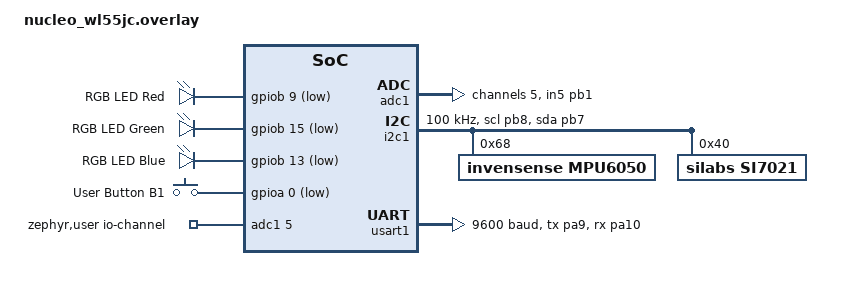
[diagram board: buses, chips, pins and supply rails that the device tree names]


/ {
	aliases {
		/* RGB LED */
		led-red    = &red_led;
		led-green  = &green_led;
		led-blue   = &blue_led;

		/* User button B1 */
		sw0        = &user_button;

		/* Sensors and communication */
		ldr-adc    = &adc1;
		sensor-i2c = &i2c1;
		gps-uart   = &usart1;
	};

	/* RGB LED - Common Anode */
	rgb_leds {
		compatible = "gpio-leds";

		red_led: red_led_node {
			gpios = <&gpiob 9 GPIO_ACTIVE_LOW>;
			label = "RGB LED Red";
		};

		green_led: green_led_node {
			gpios = <&gpiob 15 GPIO_ACTIVE_LOW>;
			label = "RGB LED Green";
		};

		blue_led: blue_led_node {
			gpios = <&gpiob 13 GPIO_ACTIVE_LOW>;
			label = "RGB LED Blue";
		};
	};

	/* Button B1 */
	buttons {
		compatible = "gpio-keys";

		user_button: button_1 {
			gpios = <&gpioa 0 (GPIO_PULL_UP | GPIO_ACTIVE_LOW)>;
			label = "User Button B1";
		};
	};

	/* LDR ADC input */
	zephyr,user {
		io-channels = <&adc1 5>;
	};
};

/* --------------------------------------------------
 * ADC1 - LDR sur PB1 / Canal 5
 * -------------------------------------------------- */
&adc1 {
	status = "okay";
	pinctrl-0 = <&adc_in5_pb1>;
	pinctrl-names = "default";

	#address-cells = <1>;
	#size-cells = <0>;

	channel@5 {
		reg = <5>;
		zephyr,gain = "ADC_GAIN_1";
		zephyr,reference = "ADC_REF_INTERNAL";
		zephyr,acquisition-time = <ADC_ACQ_TIME_DEFAULT>;
		zephyr,resolution = <12>;
	};
};

/* --------------------------------------------------
 * I2C1 - MPU6050 + Si7021 sur PB8 (SCL) / PB7 (SDA)
 * -------------------------------------------------- */
&i2c1 {
	status = "okay";
	clock-frequency = <I2C_BITRATE_STANDARD>;
	pinctrl-0 = <&i2c1_scl_pb8 &i2c1_sda_pb7>;
	pinctrl-names = "default";

	mpu6050: mpu6050@68 {
		compatible = "invensense,mpu6050";
		reg = <0x68>;
		status = "okay";
	};

	si7021: si7021@40 {
		compatible = "silabs,si7021";
		reg = <0x40>;
		status = "okay";
	};
};

/* --------------------------------------------------
 * USART1 - GPS PA6H sur PA9 (TX) / PA10 (RX)
 * -------------------------------------------------- */
&usart1 {
	status = "okay";
	current-speed = <9600>;
	pinctrl-0 = <&usart1_tx_pa9 &usart1_rx_pa10>;
	pinctrl-names = "default";
};

/* --------------------------------------------------
 * Configurations des broches (Pin Control STM32)
 * -------------------------------------------------- */
&pinctrl {
	adc_in5_pb1: adc_in5_pb1 {
		pinmux = <STM32_PINMUX('B', 1, ANALOG)>;
	};

	usart1_tx_pa9: usart1_tx_pa9 {
		pinmux = <STM32_PINMUX('A', 9, AF7)>;
		bias-pull-up;
	};

	usart1_rx_pa10: usart1_rx_pa10 {
		pinmux = <STM32_PINMUX('A', 10, AF7)>;
	};

	i2c1_scl_pb8: i2c1_scl_pb8 {
		pinmux = <STM32_PINMUX('B', 8, AF4)>;
		bias-pull-up;
		drive-open-drain;
	};

	i2c1_sda_pb7: i2c1_sda_pb7 {
		pinmux = <STM32_PINMUX('B', 7, AF4)>;
		bias-pull-up;
		drive-open-drain;
	};
};
